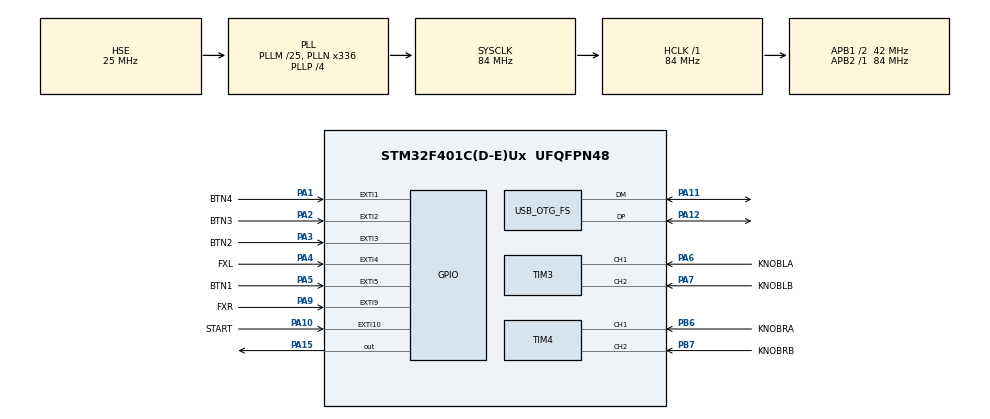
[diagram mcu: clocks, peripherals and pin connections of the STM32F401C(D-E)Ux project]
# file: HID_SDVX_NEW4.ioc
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Mcu.Family=STM32F4
Mcu.Name=STM32F401C(D-E)Ux
Mcu.Package=UFQFPN48
NVIC.EXTI15_10_IRQn=true\:0\:0\:false\:false\:true\:true\:true\:true
NVIC.EXTI1_IRQn=true\:0\:0\:false\:false\:true\:true\:true\:true
NVIC.EXTI2_IRQn=true\:0\:0\:false\:false\:true\:true\:true\:true
NVIC.EXTI3_IRQn=true\:0\:0\:false\:false\:true\:true\:true\:true
NVIC.EXTI4_IRQn=true\:0\:0\:false\:false\:true\:true\:true\:true
NVIC.EXTI9_5_IRQn=true\:0\:0\:false\:false\:true\:true\:true\:true
NVIC.OTG_FS_IRQn=true\:0\:0\:false\:false\:true\:false\:true\:true
NVIC.PriorityGroup=NVIC_PRIORITYGROUP_4
PA1.GPIO_Label=BTN4
PA1.GPIO_ModeDefaultEXTI=GPIO_MODE_IT_RISING_FALLING
PA1.GPIO_PuPd=GPIO_PULLUP
PA1.Signal=GPXTI1
PA10.GPIO_Label=START
PA10.GPIO_ModeDefaultEXTI=GPIO_MODE_IT_RISING_FALLING
PA10.GPIO_PuPd=GPIO_PULLUP
PA10.Signal=GPXTI10
PA11.Mode=Device_Only
PA11.Signal=USB_OTG_FS_DM
PA12.Mode=Device_Only
PA12.Signal=USB_OTG_FS_DP
PA15.Signal=GPIO_Output
PA2.GPIO_Label=BTN3
PA2.GPIO_ModeDefaultEXTI=GPIO_MODE_IT_RISING_FALLING
PA2.GPIO_PuPd=GPIO_PULLUP
PA2.Signal=GPXTI2
PA3.GPIO_Label=BTN2
PA3.GPIO_ModeDefaultEXTI=GPIO_MODE_IT_RISING_FALLING
PA3.GPIO_PuPd=GPIO_PULLUP
PA3.Signal=GPXTI3
PA4.GPIO_Label=FXL
PA4.GPIO_ModeDefaultEXTI=GPIO_MODE_IT_RISING_FALLING
PA4.GPIO_PuPd=GPIO_PULLUP
PA4.Signal=GPXTI4
PA5.GPIO_Label=BTN1
PA5.GPIO_ModeDefaultEXTI=GPIO_MODE_IT_RISING_FALLING
PA5.GPIO_PuPd=GPIO_PULLUP
PA5.Signal=GPXTI5
PA6.GPIO_Label=KNOBLA
PA6.GPIO_PuPd=GPIO_PULLUP
PA6.Signal=S_TIM3_CH1
PA7.GPIO_Label=KNOBLB
PA7.GPIO_PuPd=GPIO_PULLUP
PA7.Signal=S_TIM3_CH2
PA9.GPIO_Label=FXR
PA9.GPIO_ModeDefaultEXTI=GPIO_MODE_IT_RISING_FALLING
PA9.GPIO_PuPd=GPIO_PULLUP
PA9.Signal=GPXTI9
PB6.GPIO_Label=KNOBRA
PB6.GPIO_PuPd=GPIO_PULLUP
PB6.Signal=S_TIM4_CH1
PB7.GPIO_Label=KNOBRB
PB7.GPIO_PuPd=GPIO_PULLUP
PB7.Signal=S_TIM4_CH2
PC14-OSC32_IN.Mode=LSE-External-Oscillator
PC14-OSC32_IN.Signal=RCC_OSC32_IN
PC15-OSC32_OUT.Mode=LSE-External-Oscillator
PC15-OSC32_OUT.Signal=RCC_OSC32_OUT
PH0\ -\ OSC_IN.Mode=HSE-External-Oscillator
PH0\ -\ OSC_IN.Signal=RCC_OSC_IN
PH1\ -\ OSC_OUT.Mode=HSE-External-Oscillator
PH1\ -\ OSC_OUT.Signal=RCC_OSC_OUT
ProjectManager.HeapSize=0x200
ProjectManager.StackSize=0x400
ProjectManager.TargetToolchain=STM32CubeIDE
RCC.48MHZClocksFreq_Value=48000000
RCC.AHBFreq_Value=84000000
RCC.APB1CLKDivider=RCC_HCLK_DIV2
RCC.APB1Freq_Value=42000000
RCC.APB1TimFreq_Value=84000000
RCC.APB2Freq_Value=84000000
RCC.APB2TimFreq_Value=84000000
RCC.CortexFreq_Value=84000000
RCC.HCLKFreq_Value=84000000
RCC.HSE_VALUE=25000000
RCC.HSI_VALUE=16000000
RCC.PLLM=25
RCC.PLLN=336
RCC.PLLP=RCC_PLLP_DIV4
RCC.PLLQ=7
RCC.SYSCLKFreq_VALUE=84000000
RCC.SYSCLKSource=RCC_SYSCLKSOURCE_PLLCLK
RCC.VCOOutputFreq_Value=336000000
SH.S_TIM3_CH1.0=TIM3_CH1,Encoder_Interface
SH.S_TIM3_CH2.0=TIM3_CH2,Encoder_Interface
SH.S_TIM4_CH1.0=TIM4_CH1,Encoder_Interface
SH.S_TIM4_CH2.0=TIM4_CH2,Encoder_Interface
TIM3.EncoderMode=TIM_ENCODERMODE_TI12
TIM3.IC1Filter=5
TIM3.IC1Prescaler=TIM_ICPSC_DIV1
TIM3.IC2Filter=5
TIM3.IC2Prescaler=TIM_ICPSC_DIV1
TIM4.EncoderMode=TIM_ENCODERMODE_TI12
TIM4.IC1Filter=5
TIM4.IC1Prescaler=TIM_ICPSC_DIV1
TIM4.IC2Filter=5
TIM4.IC2Prescaler=TIM_ICPSC_DIV1
USB_DEVICE.CLASS_NAME_FS=CUSTOM_HID
USB_DEVICE.MANUFACTURER_STRING-CUSTOM_HID_FS=Jefter
USB_DEVICE.PID_CUSTOMHID_FS=28364 
USB_DEVICE.PRODUCT_STRING_CUSTOMHID_FS=STM32F401 SDVX Controller
USB_DEVICE.USBD_CUSTOMHID_OUTREPORT_BUF_SIZE-CUSTOM_HID_FS=2
USB_DEVICE.USBD_CUSTOM_HID_REPORT_DESC_SIZE-CUSTOM_HID_FS=46
USB_DEVICE.USBD_SELF_POWERED-CUSTOM_HID_FS=0
USB_DEVICE.VirtualMode-CUSTOM_HID_FS=CustomHid
USB_DEVICE.VirtualModeFS=Custom_Hid_FS
USB_OTG_FS.VirtualMode=Device_Only
VP_USB_DEVICE_VS_USB_DEVICE_CUSTOM_HID_FS.Mode=CUSTOM_HID_FS
board=custom

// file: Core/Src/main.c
/* USER CODE BEGIN Header */
/**
  ******************************************************************************
  * @file           : main.c
  * @brief          : Main program body
  ******************************************************************************
  * @attention
  *
  * Copyright (c) 2025 STMicroelectronics.
  * All rights reserved.
  *
  * This software is licensed under terms that can be found in the LICENSE file
  * in the root directory of this software component.
  * If no LICENSE file comes with this software, it is provided AS-IS.
  *
  ******************************************************************************
  */
/* USER CODE END Header */
#include "main.h"
#include "usb_device.h"

/* USER CODE BEGIN Includes */
#include "usbd_customhid.h"
#include <string.h>
#include <math.h>
#include "visEffect.h"
/* USER CODE END Includes */

/* USER CODE BEGIN PTD */

typedef struct {
	const GPIO_TypeDef* port;
	const uint16_t pin;
} Button_TypeDef;
/* USER CODE END PTD */

/* USER CODE BEGIN PD */
#define	JOYSTICK_REPORT_SIZE	5
#define	ENCODER_TIMER_PERIOD	0xFFFF // 65535

#define NUM_BUTTONS				7
#define DEBOUNCE_LOCKOUT_MS		3
#define MAIN_LOOP_DELAY_MS		1

#define ENCODER_SMOOTHING_ALPHA 0.15f

#define DFU_BUTTON_INDEX		6
#define DFU_HOLD_TIME_MS		5000
#define BOOT0_PORT				GPIOA
#define BOOT0_PIN				GPIO_PIN_15
/* USER CODE END PD */

TIM_HandleTypeDef htim3;
TIM_HandleTypeDef htim4;

/* USER CODE BEGIN PV */
extern USBD_HandleTypeDef hUsbDeviceFS;

USBD_JoystickReport_TypeDef joystickReport;

volatile int16_t g_encoder_delta_x = 0;
volatile int16_t g_encoder_delta_y = 0;

static uint16_t last_encoder1_count = 0;
static uint16_t last_encoder2_count = 0;
static int32_t current_axis_x_raw = 0;
static int32_t current_axis_y_raw = 0;

// Make button definitions const
const Button_TypeDef buttons[NUM_BUTTONS] = {
		{GPIOA, BTN1_Pin},
		{GPIOA, BTN2_Pin},
		{GPIOA, BTN3_Pin},
		{GPIOA, BTN4_Pin},
		{GPIOA, FXL_Pin},
		{GPIOA, FXR_Pin},
		{GPIOA, START_Pin}
};

// These are modified by EXTI callback, hence volatile
volatile uint8_t button_stable_state[NUM_BUTTONS] = {0};
volatile uint32_t button_lockout_timer[NUM_BUTTONS] = {0};

static float smoothed_axis_x = 0.0f;
static float smoothed_axis_y = 0.0f;

// These are modified by EXTI callback, hence volatile
static volatile uint32_t dfu_button_press_time = 0;
static volatile uint8_t dfu_button_currently_pressed = 0;
/* USER CODE END PV */

void SystemClock_Config(void);
static void MX_GPIO_Init(void);
static void MX_TIM3_Init(void);
static void MX_TIM4_Init(void);
/* USER CODE BEGIN PFP */
static void GoToBootloader(void);
static void Read_Encoders(void);
static void Send_HID_Report(void);
static void Process_Buttons(void);
static void Check_DFU_Entry(void);
/* USER CODE END PFP */

int main(void)
{

  /* MCU Configuration--------------------------------------------------------*/

  /* Reset of all peripherals, Initializes the Flash interface and the Systick. */
  HAL_Init();

  /* Configure the system clock */
  SystemClock_Config();

  /* Initialize all configured peripherals */
  MX_GPIO_Init();
  MX_TIM3_Init();
  MX_TIM4_Init();
  MX_USB_DEVICE_Init();
  /* USER CODE BEGIN 2 */

  visInit();

  if (HAL_TIM_Encoder_Start(&htim3, TIM_CHANNEL_ALL) != HAL_OK) {
    Error_Handler();
  }
  if (HAL_TIM_Encoder_Start(&htim4, TIM_CHANNEL_ALL) != HAL_OK) {
    Error_Handler();
  }

  // Use defined constant for clarity if desired, though 0xFFFF is common
  __HAL_TIM_SET_COUNTER(&htim3, 0);
  __HAL_TIM_SET_COUNTER(&htim4, 0);

  // Read initial counter values *after* setting them
  last_encoder1_count = __HAL_TIM_GET_COUNTER(&htim3);
  last_encoder2_count = __HAL_TIM_GET_COUNTER(&htim4);
  current_axis_x_raw = 0;
  current_axis_y_raw = 0;

  // Initialize report struct
  memset(&joystickReport, 0, sizeof(joystickReport));
  // Redundant if memset is used, but explicit:
  // joystickReport.axis_x = 0;
  // joystickReport.axis_y = 0;
  // joystickReport.buttons = 0;

  // memset(button_stable_state, 0, sizeof(button_stable_state)); // Already initialized statically
  // memset(button_lockout_timer, 0, sizeof(button_lockout_timer)); // Already initialized statically
  /* USER CODE END 2 */

  /* Infinite loop */
  while (1)
  {

    /* USER CODE BEGIN 3 */
	visHandle();
	Read_Encoders();
	Process_Buttons();
	Check_DFU_Entry();
	Send_HID_Report();

	// Consider if HAL_Delay is strictly necessary or if timing can be handled differently
	// For simple loop rate control, it's acceptable.
	HAL_Delay(MAIN_LOOP_DELAY_MS);
  }
  /* USER CODE END 3 */
}

void SystemClock_Config(void)
{
  RCC_OscInitTypeDef RCC_OscInitStruct = {0};
  RCC_ClkInitTypeDef RCC_ClkInitStruct = {0};

  /** Configure the main internal regulator output voltage
  */
  __HAL_RCC_PWR_CLK_ENABLE();
  __HAL_PWR_VOLTAGESCALING_CONFIG(PWR_REGULATOR_VOLTAGE_SCALE2);

  /** Initializes the RCC Oscillators according to the specified parameters
  * in the RCC_OscInitTypeDef structure.
  */
  RCC_OscInitStruct.OscillatorType = RCC_OSCILLATORTYPE_HSE;
  RCC_OscInitStruct.HSEState = RCC_HSE_ON;
  RCC_OscInitStruct.PLL.PLLState = RCC_PLL_ON;
  RCC_OscInitStruct.PLL.PLLSource = RCC_PLLSOURCE_HSE;
  RCC_OscInitStruct.PLL.PLLM = 25;
  RCC_OscInitStruct.PLL.PLLN = 336;
  RCC_OscInitStruct.PLL.PLLP = RCC_PLLP_DIV4;
  RCC_OscInitStruct.PLL.PLLQ = 7;
  if (HAL_RCC_OscConfig(&RCC_OscInitStruct) != HAL_OK)
  {
    Error_Handler();
  }

  /** Initializes the CPU, AHB and APB buses clocks
  */
  RCC_ClkInitStruct.ClockType = RCC_CLOCKTYPE_HCLK|RCC_CLOCKTYPE_SYSCLK
                              |RCC_CLOCKTYPE_PCLK1|RCC_CLOCKTYPE_PCLK2;
  RCC_ClkInitStruct.SYSCLKSource = RCC_SYSCLKSOURCE_PLLCLK;
  RCC_ClkInitStruct.AHBCLKDivider = RCC_SYSCLK_DIV1;
  RCC_ClkInitStruct.APB1CLKDivider = RCC_HCLK_DIV2;
  RCC_ClkInitStruct.APB2CLKDivider = RCC_HCLK_DIV1;

  if (HAL_RCC_ClockConfig(&RCC_ClkInitStruct, FLASH_LATENCY_2) != HAL_OK)
  {
    Error_Handler();
  }
}

static void MX_TIM3_Init(void)
{

  TIM_Encoder_InitTypeDef sConfig = {0};
  TIM_MasterConfigTypeDef sMasterConfig = {0};

  htim3.Instance = TIM3;
  htim3.Init.Prescaler = 0;
  htim3.Init.CounterMode = TIM_COUNTERMODE_UP;
  htim3.Init.Period = ENCODER_TIMER_PERIOD; // Use define
  htim3.Init.ClockDivision = TIM_CLOCKDIVISION_DIV1;
  htim3.Init.AutoReloadPreload = TIM_AUTORELOAD_PRELOAD_DISABLE;
  sConfig.EncoderMode = TIM_ENCODERMODE_TI12;
  sConfig.IC1Polarity = TIM_ICPOLARITY_RISING; // Check if this matches encoder spec (often rising/falling)
  sConfig.IC1Selection = TIM_ICSELECTION_DIRECTTI;
  sConfig.IC1Prescaler = TIM_ICPSC_DIV1;
  sConfig.IC1Filter = 5; // Adjust filter based on noise/encoder speed
  sConfig.IC2Polarity = TIM_ICPOLARITY_RISING; // Check if this matches encoder spec
  sConfig.IC2Selection = TIM_ICSELECTION_DIRECTTI;
  sConfig.IC2Prescaler = TIM_ICPSC_DIV1;
  sConfig.IC2Filter = 5; // Adjust filter based on noise/encoder speed
  if (HAL_TIM_Encoder_Init(&htim3, &sConfig) != HAL_OK)
  {
    Error_Handler();
  }
  sMasterConfig.MasterOutputTrigger = TIM_TRGO_RESET;
  sMasterConfig.MasterSlaveMode = TIM_MASTERSLAVEMODE_DISABLE;
  if (HAL_TIMEx_MasterConfigSynchronization(&htim3, &sMasterConfig) != HAL_OK)
  {
    Error_Handler();
  }

}

static void MX_TIM4_Init(void)
{

  TIM_Encoder_InitTypeDef sConfig = {0};
  TIM_MasterConfigTypeDef sMasterConfig = {0};

  htim4.Instance = TIM4;
  htim4.Init.Prescaler = 0;
  htim4.Init.CounterMode = TIM_COUNTERMODE_UP;
  htim4.Init.Period = ENCODER_TIMER_PERIOD; // Use define
  htim4.Init.ClockDivision = TIM_CLOCKDIVISION_DIV1;
  htim4.Init.AutoReloadPreload = TIM_AUTORELOAD_PRELOAD_DISABLE;
  sConfig.EncoderMode = TIM_ENCODERMODE_TI12;
  sConfig.IC1Polarity = TIM_ICPOLARITY_RISING; // Check consistency
  sConfig.IC1Selection = TIM_ICSELECTION_DIRECTTI;
  sConfig.IC1Prescaler = TIM_ICPSC_DIV1;
  sConfig.IC1Filter = 5; // Adjust filter
  sConfig.IC2Polarity = TIM_ICPOLARITY_RISING; // Check consistency
  sConfig.IC2Selection = TIM_ICSELECTION_DIRECTTI;
  sConfig.IC2Prescaler = TIM_ICPSC_DIV1;
  sConfig.IC2Filter = 5; // Adjust filter
  if (HAL_TIM_Encoder_Init(&htim4, &sConfig) != HAL_OK)
  {
    Error_Handler();
  }
  sMasterConfig.MasterOutputTrigger = TIM_TRGO_RESET;
  sMasterConfig.MasterSlaveMode = TIM_MASTERSLAVEMODE_DISABLE;
  if (HAL_TIMEx_MasterConfigSynchronization(&htim4, &sMasterConfig) != HAL_OK)
  {
    Error_Handler();
  }

}

static void MX_GPIO_Init(void)
{
  GPIO_InitTypeDef GPIO_InitStruct = {0};

  /* GPIO Ports Clock Enable */
  __HAL_RCC_GPIOC_CLK_ENABLE();
  __HAL_RCC_GPIOH_CLK_ENABLE();
  __HAL_RCC_GPIOA_CLK_ENABLE();
  __HAL_RCC_GPIOB_CLK_ENABLE();

  /*Configure GPIO pin Output Level */
  HAL_GPIO_WritePin(BOOT0_PORT, BOOT0_PIN, GPIO_PIN_RESET);

  /*Configure GPIO pins : BTN4_Pin BTN3_Pin BTN2_Pin FXL_Pin
                           BTN1_Pin FXR_Pin START_Pin */
  GPIO_InitStruct.Pin = BTN4_Pin|BTN3_Pin|BTN2_Pin|FXL_Pin
                          |BTN1_Pin|FXR_Pin|START_Pin;
  GPIO_InitStruct.Mode = GPIO_MODE_IT_RISING_FALLING; // Debounce handled in software
  GPIO_InitStruct.Pull = GPIO_PULLUP; // Assumes buttons connect pin to GND when pressed
  HAL_GPIO_Init(GPIOA, &GPIO_InitStruct);

  /*Configure GPIO pin : PA15 (BOOT0 Control) */
  GPIO_InitStruct.Pin = BOOT0_PIN;
  GPIO_InitStruct.Mode = GPIO_MODE_OUTPUT_PP;
  GPIO_InitStruct.Pull = GPIO_NOPULL;
  GPIO_InitStruct.Speed = GPIO_SPEED_FREQ_LOW;
  HAL_GPIO_Init(BOOT0_PORT, &GPIO_InitStruct);

  /* EXTI interrupt init - Ensure priorities are appropriate for the application */
  // Using the same priority (0,0) for all might be fine, but consider if some need higher priority
  HAL_NVIC_SetPriority(EXTI1_IRQn, 0, 0);
  HAL_NVIC_EnableIRQ(EXTI1_IRQn);

  HAL_NVIC_SetPriority(EXTI2_IRQn, 0, 0);
  HAL_NVIC_EnableIRQ(EXTI2_IRQn);

  HAL_NVIC_SetPriority(EXTI3_IRQn, 0, 0);
  HAL_NVIC_EnableIRQ(EXTI3_IRQn);

  HAL_NVIC_SetPriority(EXTI4_IRQn, 0, 0);
  HAL_NVIC_EnableIRQ(EXTI4_IRQn);

  HAL_NVIC_SetPriority(EXTI9_5_IRQn, 0, 0);
  HAL_NVIC_EnableIRQ(EXTI9_5_IRQn);

  HAL_NVIC_SetPriority(EXTI15_10_IRQn, 0, 0);
  HAL_NVIC_EnableIRQ(EXTI15_10_IRQn);

}

/* USER CODE BEGIN 4 */

/**
  * @brief Process stable button states into HID report format.
  * @retval None
  */
static void Process_Buttons(void)
{
	uint8_t final_button_state = 0;
	// This loop assumes button_stable_state[i] is always 0 or 1.
	for (int i = 0; i < NUM_BUTTONS; i++) {
		final_button_state |= (button_stable_state[i] << i);
	}
	joystickReport.buttons = final_button_state;
}

/**
  * @brief Check if DFU button is held long enough to enter bootloader.
  * @retval None
  */
static void Check_DFU_Entry(void)
{
    // Read volatile variables once
	uint32_t press_time = dfu_button_press_time;
	uint8_t is_pressed = dfu_button_currently_pressed;

	// Check only if the button is currently considered pressed and a start time is logged
	if (is_pressed && press_time != 0) {
		if ((HAL_GetTick() - press_time) >= DFU_HOLD_TIME_MS) {
			GoToBootloader(); // This function does not return
		}
	}
}

/**
 * @brief EXTI Line Detection Callback. Handles button debouncing.
 * @param GPIO_Pin: Specifies the port pin connected to corresponding EXTI line.
 * @retval None
 */
void HAL_GPIO_EXTI_Callback(uint16_t GPIO_Pin) {
	uint32_t current_tick = HAL_GetTick();

	// Find which button triggered the interrupt
	for (int i = 0; i < NUM_BUTTONS; i++) {
		if (GPIO_Pin == buttons[i].pin) {
			// Check if lockout period has expired
			if (current_tick >= button_lockout_timer[i]) {
				// Read the *current* raw state (interrupt might be delayed slightly)
                // Assumes PULLUP resistor and button connects to GND when pressed
				uint8_t current_raw_state = (HAL_GPIO_ReadPin(buttons[i].port, buttons[i].pin) == GPIO_PIN_RESET);

                // Check if the stable state needs updating
				if (current_raw_state != button_stable_state[i]) {
					button_stable_state[i] = current_raw_state;
					// Start new lockout period
					button_lockout_timer[i] = current_tick + DEBOUNCE_LOCKOUT_MS;

					// Specific logic for the DFU button
					if (i == DFU_BUTTON_INDEX) {
						if (current_raw_state == 1) { // Button pressed
                            // Only record press time if it wasn't already considered pressed
                            // Protect against HAL_GetTick() potentially returning 0 initially
							if (dfu_button_press_time == 0) {
								dfu_button_press_time = current_tick ? current_tick : 1;
							}
							dfu_button_currently_pressed = 1;
						} else { // Button released
							dfu_button_press_time = 0; // Reset timer
							dfu_button_currently_pressed = 0;
						}
					}
				}
			}
			// Found the button, no need to check others
			break;
		}
	}
}

/**
  * @brief Set BOOT0 pin and trigger system reset to enter DFU bootloader.
  * @retval None. This function does not return.
  */
static void GoToBootloader(void) {
	HAL_GPIO_WritePin(BOOT0_PORT, BOOT0_PIN, GPIO_PIN_SET);
	HAL_Delay(250); // Short delay to ensure pin state is stable
	NVIC_SystemReset(); // Trigger reset
}

/**
  * @brief Read encoder values, calculate deltas, apply smoothing, and update report.
  * @retval None
  */
static void Read_Encoders(void)
{
    // Read hardware counters
	uint16_t current_encoder1_count = __HAL_TIM_GET_COUNTER(&htim3);
	uint16_t current_encoder2_count = __HAL_TIM_GET_COUNTER(&htim4);

    // Calculate delta using signed 16-bit arithmetic to handle wrap-around correctly
	int16_t delta1 = (int16_t)(current_encoder1_count - last_encoder1_count);
	int16_t delta2 = (int16_t)(current_encoder2_count - last_encoder2_count);

    // Store current counts for next iteration
	last_encoder1_count = current_encoder1_count;
	last_encoder2_count = current_encoder2_count;

    // Update global delta values (used by visEffect)
	g_encoder_delta_x = delta1;
	g_encoder_delta_y = delta2;

    // Accumulate raw encoder values
	current_axis_x_raw += delta1;
	current_axis_y_raw += delta2;

    // Apply exponential moving average (EMA) smoothing
	smoothed_axis_x = (ENCODER_SMOOTHING_ALPHA * (float)current_axis_x_raw) + ((1.0f - ENCODER_SMOOTHING_ALPHA) * smoothed_axis_x);
	smoothed_axis_y = (ENCODER_SMOOTHING_ALPHA * (float)current_axis_y_raw) + ((1.0f - ENCODER_SMOOTHING_ALPHA) * smoothed_axis_y);

    // Scale and round the smoothed value for the report
    // Adjust scaling factor (10.0f) as needed for desired sensitivity/range
	int32_t scaled_x = (int32_t)roundf(smoothed_axis_x / 10.0f);
	int32_t scaled_y = (int32_t)roundf(smoothed_axis_y / 10.0f);

    // Clamp scaled values to the report's axis range (uint16_t: 0-65535)
	joystickReport.axis_x = (uint16_t)scaled_x;
	joystickReport.axis_y = (uint16_t)scaled_y;
}

/**
  * @brief Send the current joystick HID report over USB.
  * @retval None
  */
static void Send_HID_Report(void)
{
    // Only send if USB device is configured and ready
	if (hUsbDeviceFS.dev_state == USBD_STATE_CONFIGURED) {
		USBD_CUSTOM_HID_SendReport(&hUsbDeviceFS, (uint8_t*)&joystickReport, JOYSTICK_REPORT_SIZE);
	}
}

/* USER CODE END 4 */

void Error_Handler(void)
{
  /* USER CODE BEGIN Error_Handler_Debug */
  __disable_irq(); // Critical error, halt execution
  while (1) {}
  /* USER CODE END Error_Handler_Debug */
}

#ifdef  USE_FULL_ASSERT
/**
  * @brief  Reports the name of the source file and the source line number
  *         where the assert_param error has occurred.
  * @param  file: pointer to the source file name
  * @param  line: assert_param error line source number
  * @retval None
  */
void assert_failed(uint8_t *file, uint32_t line)
{
  /* USER CODE BEGIN 6 */
   // Consider logging the error before halting
   Error_Handler(); // Halt on assert failure
  /* USER CODE END 6 */
}
#endif /* USE_FULL_ASSERT */
